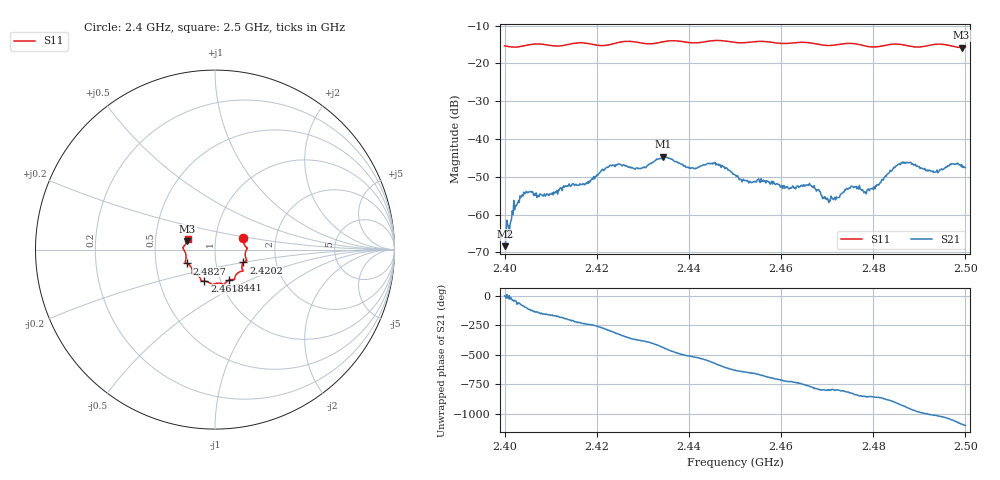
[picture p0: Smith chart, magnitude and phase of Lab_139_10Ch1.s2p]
# Hz S RI R 50
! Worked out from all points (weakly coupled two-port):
!   601 points, 2.4 GHz to 2.5 GHz, reference 50 ohm
!   highest |S21| = -44.66 dB at 2.4343 GHz (marker M1); lowest = -68.4 dB at 2.4002 GHz (marker M2)
!   lowest |S11| = -15.8 dB at 2.4992 GHz (marker M3), VSWR 1.39, Z = 36.4 + j3.64 ohm
!   |S11| at or under -10 dB: start of sweep to end of sweep
!   S12 and S22 are empty: the file has one direction only
!   S11 on the Smith chart (normalised r, x): 2.4 GHz: 1.36, +0.18; 2.4202 GHz: 1.36, -0.20; 2.441 GHz: 1.10, -0.39; 2.4618 GHz: 0.84, -0.30; 2.4827 GHz: 0.72, -0.12; 2.5 GHz: 0.73, +0.09
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2.4e9  0.1587 0.0631  0.000408 -1.14e-05  0 0  0 0
2.400167e9  0.1585 0.0615  0.000377 -5.79e-05  0 0  0 0
2.402167e9  0.1601 0.0371  0.000877 -0.000753  0 0  0 0
2.404333e9  0.1709 0.0174  -0.000209 -0.00188  0 0  0 0
2.416667e9  0.1773 -0.061  -0.00155 0.00197  0 0  0 0
2.420167e9  0.1586 -0.0715  -0.000521 0.00323  0 0  0 0
2.433333e9  0.1116 -0.1507  0.00263 -0.00476  0 0  0 0
2.434333e9  0.1097 -0.1588  0.0011 -0.00574  0 0  0 0
2.441e9  0.0787 -0.1698  -0.00384 -0.00134  0 0  0 0
2.4455e9  0.0509 -0.1941  -0.00407 0.00257  0 0  0 0
2.45e9  0.0287 -0.1874  7.82e-05 0.00336  0 0  0 0
2.461833e9  -0.0591 -0.1753  0.00217 -0.000371  0 0  0 0
2.466667e9  -0.0788 -0.1684  0.00132 -0.00193  0 0  0 0
2.470167e9  -0.0967 -0.143  0.000381 -0.00156  0 0  0 0
2.475167e9  -0.1275 -0.1332  -0.000664 -0.00228  0 0  0 0
2.478667e9  -0.1283 -0.1088  -0.00161 -0.00135  0 0  0 0
2.482667e9  -0.156 -0.0774  -0.00302 -0.0012  0 0  0 0
2.483333e9  -0.1605 -0.0754  -0.0034 -0.000954  0 0  0 0
2.486833e9  -0.1638 -0.0609  -0.00372 0.00299  0 0  0 0
2.493167e9  -0.1781 0.00552  0.00152 0.00327  0 0  0 0
2.499167e9  -0.1549 0.0486  0.00453 -0.000748  0 0  0 0
2.5e9  -0.1522 0.0605  0.00392 -0.00148  0 0  0 0
